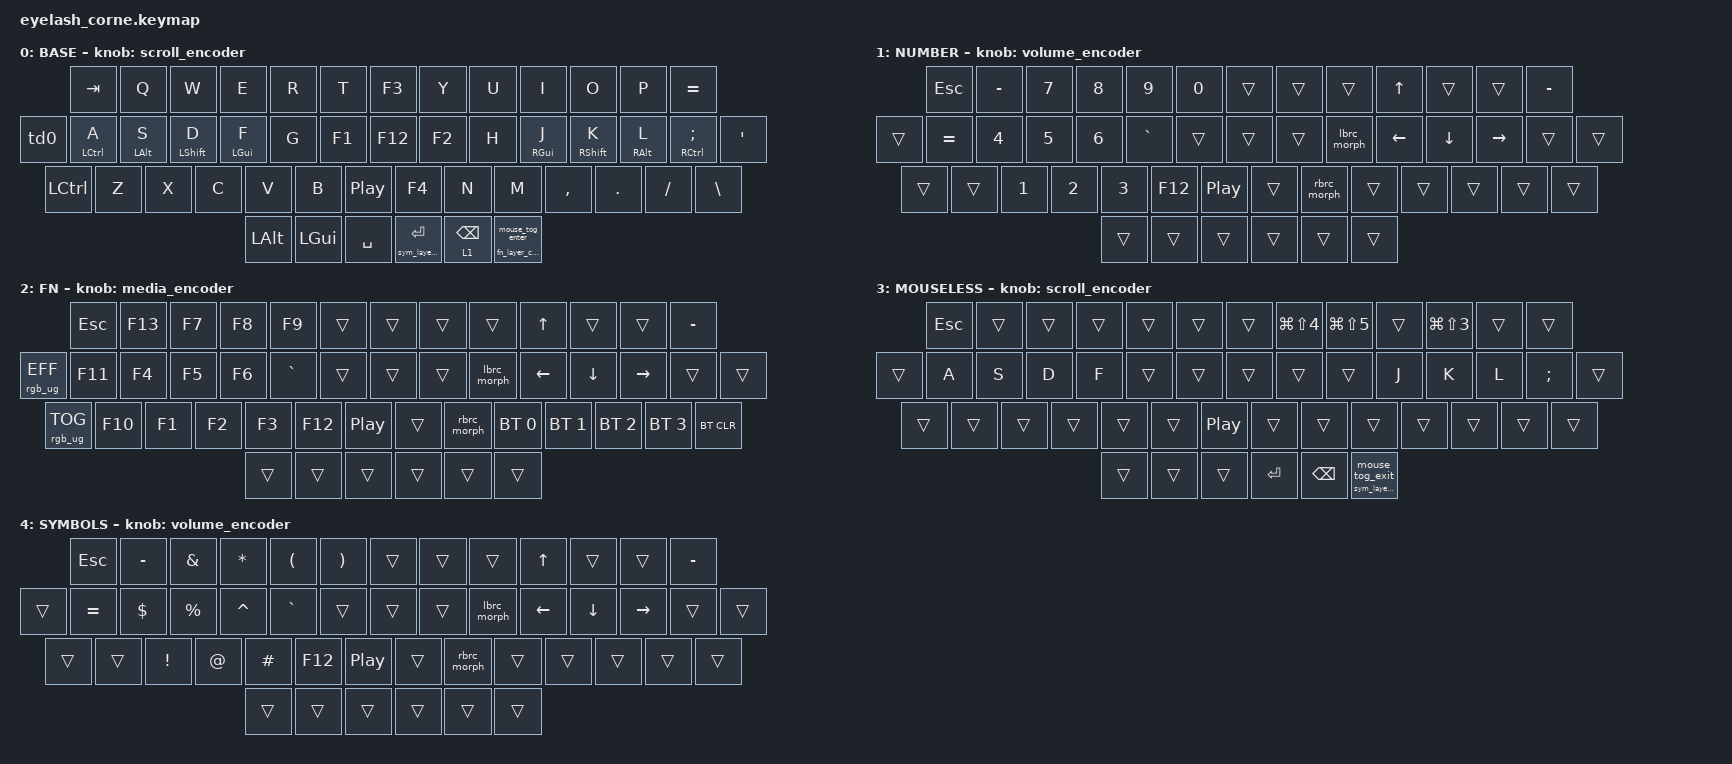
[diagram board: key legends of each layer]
#include <behaviors.dtsi>
#include <dt-bindings/zmk/bt.h>
#include <dt-bindings/zmk/keys.h>
#include <dt-bindings/zmk/outputs.h>
#include <dt-bindings/zmk/pointing.h>
#include <dt-bindings/zmk/rgb.h>

&soft_off { hold-time-ms = <2000>; };

/ {
    behaviors {
        td0: td0 {
            compatible = "zmk,behavior-tap-dance";
            display-name = "Shift/Caps Lock Tap Dance";
            #binding-cells = <0>;
            bindings = <&kp LEFT_SHIFT>, <&kp CAPS>;
        };

        num_lt: num_lt {
            compatible = "zmk,behavior-hold-tap";
            display-name = "Backspace/NUMBER Layer";
            #binding-cells = <2>;
            flavor = "balanced";
            tapping-term-ms = <200>;
            quick-tap-ms = <250>;
            bindings = <&mo>, <&kp>;
        };

        lbrc_morph: lbrc_morph {
            compatible = "zmk,behavior-mod-morph";
            #binding-cells = <0>;
            bindings = <&kp LBRC>, <&kp LBKT>;
            mods = <(MOD_LSFT|MOD_RSFT)>;
        };

        rbrc_morph: rbrc_morph {
            compatible = "zmk,behavior-mod-morph";
            #binding-cells = <0>;
            bindings = <&kp RBRC>, <&kp RBKT>;
            mods = <(MOD_LSFT|MOD_RSFT)>;
        };

        hml: home_row_mod_left {
            compatible = "zmk,behavior-hold-tap";
            #binding-cells = <2>;
            flavor = "balanced";
            tapping-term-ms = <280>;
            quick-tap-ms = <175>;
            require-prior-idle-ms = <150>;
            bindings = <&kp>, <&kp>;
            hold-trigger-key-positions = <7 8 9 10 11 12 22 23 24 25 26 27 36 37 38 39 40 41 45 46 47>;
            hold-trigger-on-release;
        };

        hmr: home_row_mod_right {
            compatible = "zmk,behavior-hold-tap";
            #binding-cells = <2>;
            flavor = "balanced";
            tapping-term-ms = <280>;
            quick-tap-ms = <175>;
            require-prior-idle-ms = <150>;
            bindings = <&kp>, <&kp>;
            hold-trigger-key-positions = <0 1 2 3 4 5 13 14 15 16 17 18 28 29 30 31 32 33 42 43 44>;
            hold-trigger-on-release;
        };

        fn_lt_enter: fn_lt_enter {
            compatible = "zmk,behavior-hold-tap";
            #binding-cells = <2>;
            flavor = "balanced";
            tapping-term-ms = <200>;
            bindings = <&sym_layer_color>, <&kp>;
        };

        mouse_lt_enter: mouse_lt_enter {
            compatible = "zmk,behavior-hold-tap";
            #binding-cells = <2>;
            flavor = "balanced";
            tapping-term-ms = <200>;
            bindings = <&fn_layer_color>, <&mouse_tog_enter>;
        };

        mouse_lt_exit: mouse_lt_exit {
            compatible = "zmk,behavior-hold-tap";
            #binding-cells = <2>;
            flavor = "balanced";
            tapping-term-ms = <200>;
            bindings = <&sym_layer_color>, <&mouse_tog_exit>;
        };

    };

    rgb_encoder: rgb_encoder {
        compatible = "zmk,behavior-sensor-rotate";
        #sensor-binding-cells = <0>;
        bindings = <&rgb_ug RGB_BRI>, <&rgb_ug RGB_BRD>;
    };

    scroll_encoder: scroll_encoder {
        compatible = "zmk,behavior-sensor-rotate";
        #sensor-binding-cells = <0>;
        bindings = <&msc MOVE_Y(-140)>, <&msc MOVE_Y(140)>;
        tap-ms = <20>;
    };

    media_encoder: media_encoder {
        compatible = "zmk,behavior-sensor-rotate";
        #sensor-binding-cells = <0>;
        bindings = <&kp C_NEXT>, <&kp C_PREV>;
    };

    volume_encoder: volume_encoder {
        compatible = "zmk,behavior-sensor-rotate";
        #sensor-binding-cells = <0>;
        bindings = <&kp C_VOLUME_UP>, <&kp C_VOLUME_DOWN>;
    };

    combos {
        compatible = "zmk,combos";
    };

    macros {
        compatible = "zmk,macros";

        num_tog_enter: num_tog_enter {
            compatible = "zmk,behavior-macro";
            #binding-cells = <0>;
            wait-ms = <0>;
            tap-ms = <0>;
            bindings = <&to 1>;
        };

        num_tog_exit: num_tog_exit {
            compatible = "zmk,behavior-macro";
            #binding-cells = <0>;
            wait-ms = <0>;
            tap-ms = <0>;
            bindings = <&to 0>;
        };

        fn_layer_color: fn_layer_color {
            compatible = "zmk,behavior-macro";
            #binding-cells = <0>;
            wait-ms = <0>;
            tap-ms = <0>;
            bindings
                = <&macro_press &mo 2>
                , <&macro_pause_for_release>
                , <&macro_release &mo 2>;
        };

        mouse_tog_enter: mouse_tog_enter {
            compatible = "zmk,behavior-macro";
            #binding-cells = <0>;
            wait-ms = <0>;
            tap-ms = <0>;
            bindings
                = <&tog 3>
                , <&kp RALT>;
        };

        mouse_tog_exit: mouse_tog_exit {
            compatible = "zmk,behavior-macro";
            #binding-cells = <0>;
            wait-ms = <0>;
            tap-ms = <0>;
            bindings
                = <&tog 3>
                , <&kp RALT>;
        };

        sym_layer_color: sym_layer_color {
            compatible = "zmk,behavior-macro";
            #binding-cells = <0>;
            wait-ms = <0>;
            tap-ms = <0>;
            bindings
                = <&macro_press &mo 4>
                , <&macro_pause_for_release>
                , <&macro_release &mo 4>;
        };
    };

    keymap {
        compatible = "zmk,keymap";

        default_layer {
            display-name = "BASE";
            bindings = <
 &kp TAB    &kp Q  &kp W  &kp E     &kp R  &kp T                               &kp F3                &kp Y        &kp U  &kp I      &kp O    &kp P     &kp EQUAL
&td0       &hml LCTRL A  &hml LALT S  &hml LSHFT D     &hml LGUI F  &kp G                     &kp F1  &kp F12  &kp F2  &kp H        &hmr RGUI J  &hmr RSHFT K      &hmr RALT L    &hmr RCTRL SEMI  &kp SQT
 &kp LCTRL  &kp Z  &kp X  &kp C     &kp V  &kp B        &kp C_PP              &kp F4              &kp N        &kp M  &kp COMMA  &kp DOT   &kp FSLH  &kp BSLH
                         &kp LALT  &kp LGUI  &kp SPACE                                               &fn_lt_enter 0 ENTER  &num_lt 1 BSPC  &mouse_lt_enter 0 0
            >;

             sensor-bindings = <&scroll_encoder>;
        };

        lower_layer {
            display-name = "NUMBER";
            bindings = <
&kp ESC    &kp MINUS  &kp N7  &kp N8  &kp N9  &kp N0                                  &trans                     &trans        &trans  &kp UP  &trans     &trans  &kp MINUS
&trans     &kp EQUAL  &kp N4  &kp N5  &kp N6  &kp GRAVE                   &trans  &trans       &trans  &lbrc_morph      &kp LEFT  &kp DOWN  &kp RIGHT  &trans  &trans
&trans     &trans  &kp N1  &kp N2  &kp N3  &kp F12      &kp C_PP                    &trans                   &rbrc_morph      &trans  &trans  &trans  &trans  &trans
                                  &trans  &trans  &trans                                                             &trans        &trans  &trans
            >;

            sensor-bindings = <&volume_encoder>;
        };

        layer_3 {
            display-name = "FN";
            bindings = <
 &kp ESC    &kp F13  &kp F7  &kp F8  &kp F9  &trans                                  &trans                     &trans        &trans  &kp UP  &trans  &trans     &kp MINUS
 &rgb_ug RGB_EFF     &kp F11  &kp F4  &kp F5  &kp F6  &kp GRAVE                   &trans  &trans       &trans  &lbrc_morph      &kp LEFT  &kp DOWN  &kp RIGHT  &trans  &trans
 &rgb_ug RGB_TOG     &kp F10  &kp F1  &kp F2  &kp F3  &kp F12      &kp C_PP                    &trans                   &rbrc_morph      &bt BT_SEL 0  &bt BT_SEL 1  &bt BT_SEL 2  &bt BT_SEL 3  &bt BT_CLR
                                    &trans  &trans  &trans                                                             &trans        &trans  &trans
            >;

            sensor-bindings = <&media_encoder>;
        };

        mouse_layer {
            display-name = "MOUSELESS";
            bindings = <
&kp ESC     &trans  &trans  &trans     &trans  &trans                               &trans                &kp LG(LS(N4))        &kp LG(LS(N5))  &trans      &kp LG(LS(N3))    &trans     &trans
&trans     &kp A  &kp S  &kp D     &kp F  &trans                     &trans  &trans  &trans  &trans        &kp J  &kp K      &kp L    &kp SEMI  &trans
 &trans  &trans  &trans  &trans     &trans  &trans        &kp C_PP              &trans              &trans        &trans  &trans  &trans  &trans  &trans
                         &trans  &trans  &trans                                              &kp ENTER  &kp BSPC  &mouse_lt_exit 0 0
            >;
            sensor-bindings = <&scroll_encoder>;
        };

        symbols_layer {
            display-name = "SYMBOLS";
            bindings = <
&kp ESC    &kp MINUS  &kp AMPS  &kp ASTRK  &kp LPAR  &kp RPAR                                  &trans                     &trans        &trans  &kp UP  &trans     &trans  &kp MINUS
&trans     &kp EQUAL  &kp DLLR  &kp PRCNT  &kp CARET  &kp GRAVE                   &trans  &trans       &trans  &lbrc_morph      &kp LEFT  &kp DOWN  &kp RIGHT  &trans  &trans
&trans     &trans  &kp EXCL  &kp AT     &kp HASH  &kp F12      &kp C_PP                    &trans                   &rbrc_morph      &trans  &trans  &trans  &trans  &trans
                                   &trans  &trans  &trans                                                             &trans        &trans  &trans
            >;

            sensor-bindings = <&volume_encoder>;
        };

    };
};
